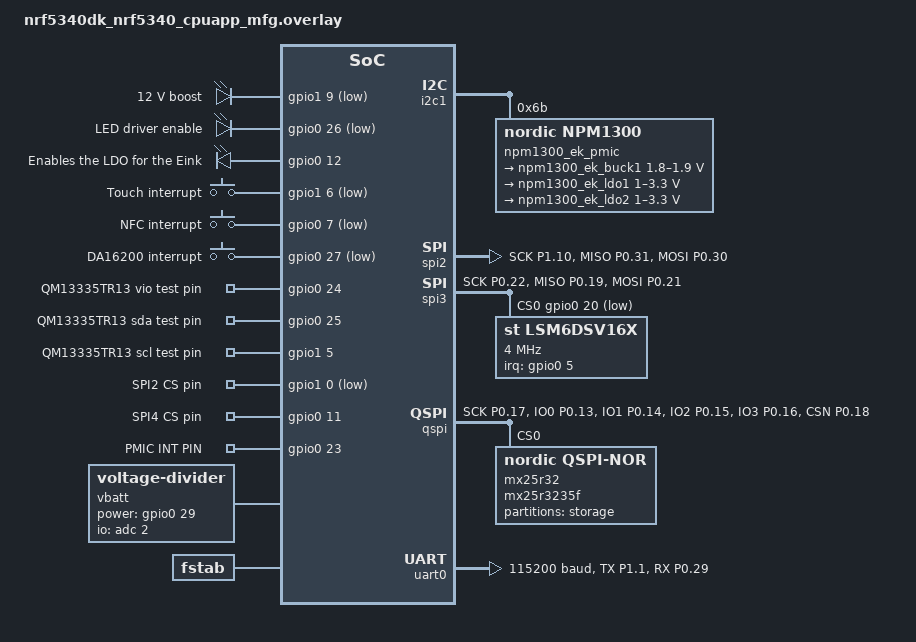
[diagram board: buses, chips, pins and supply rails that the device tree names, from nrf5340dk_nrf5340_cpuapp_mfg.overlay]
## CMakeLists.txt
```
# Copyright (c) 2023 Nordic Semiconductor ASA
# SPDX-License-Identifier: Apache-2.0

cmake_minimum_required(VERSION 3.20.0)

set(DTC_OVERLAY_FILE ./nrf5340dk_nrf5340_cpuapp_mfg.overlay)

add_compile_options(-Werror)

get_filename_component(APPLICATION_PROJECT_DIR
    ${CMAKE_CURRENT_LIST_DIR}/..
    ABSOLUTE
)


list(APPEND BOARD_ROOT ${APPLICATION_PROJECT_DIR})
list(APPEND DTS_ROOT ${APPLICATION_PROJECT_DIR})
message(ADDING BOARD_ROOT="${BOARD_ROOT}")
message(ADDING DTS_ROOT="${DTS_ROOT}")



find_package(Zephyr REQUIRED HINTS $ENV{ZEPHYR_BASE})


project(mfg_shell VERSION 0.1.22)

zephyr_library_include_directories(src/include)
target_sources(app PRIVATE src/main.c src/board.c src/shell.c src/utils.c)
add_subdirectory(../c_modules/pmic ./build/c_modules/pmic)
add_subdirectory(src/modem)
add_subdirectory(src/wifi)
add_subdirectory(../c_modules/watchdog ./build/c_modules/watchdog)
add_subdirectory(src/ble)
add_subdirectory(../c_modules/imu ./build/c_modules/imu)
add_subdirectory(../c_modules/json ./build/c_modules/json)
add_subdirectory(../c_modules/tde ./build/c_modules/tde)
add_subdirectory(../c_modules/uicr ./build/c_modules/uicr)

add_definitions(-DAPP_VERSION_MAJOR_CMAKE=${PROJECT_VERSION_MAJOR})
add_definitions(-DAPP_VERSION_MINOR_CMAKE=${PROJECT_VERSION_MINOR})
add_definitions(-DAPP_VERSION_PATCH_CMAKE=${PROJECT_VERSION_PATCH})

# Get the current Git commit hash
execute_process(
  COMMAND git rev-parse --short=6 HEAD
  WORKING_DIRECTORY ${CMAKE_SOURCE_DIR}
  OUTPUT_VARIABLE GIT_HASH
  OUTPUT_STRIP_TRAILING_WHITESPACE
)

# Check if the repository is dirty
execute_process(
  COMMAND git status --porcelain
  WORKING_DIRECTORY ${CMAKE_SOURCE_DIR}
  OUTPUT_VARIABLE GIT_DIRTY_STATUS
  OUTPUT_STRIP_TRAILING_WHITESPACE
)

# Append '-dirty' to the version string if the repository is dirty
if(NOT GIT_DIRTY_STATUS STREQUAL "")
  set(GIT_HASH "${GIT_HASH}-dirty")
endif()

add_definitions(-DGIT_HASH_CMAKE=\"${GIT_HASH}\")

# Get the build machine name
execute_process(
  COMMAND hostname
  OUTPUT_VARIABLE BUILD_MACHINE
  OUTPUT_STRIP_TRAILING_WHITESPACE
)

# Get the build date
string(TIMESTAMP BUILD_DATE "%Y-%m-%d %H:%M:%S")

# Pass the variables to the code
add_definitions(-DBUILD_MACHINE_CMAKE=\"${BUILD_MACHINE}\")
add_definitions(-DBUILD_DATE_CMAKE=\"${BUILD_DATE}\")
```

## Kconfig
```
# Copyright (c) 2021 Nordic Semiconductor ASA
# SPDX-License-Identifier: Apache-2.0
#
# This file is the application Kconfig entry point. All application Kconfig
# options can be defined here or included via other application Kconfig files.
# You can browse these options using the west targets menuconfig (terminal) or
# guiconfig (GUI).

menu "Zephyr"
source "Kconfig.zephyr"
endmenu

module = bringup
module-str = bringup
source "subsys/logging/Kconfig.template.log_config"

config ENABLE_RFFE_TO_QM13335TR13
    bool "enable RFFE communication to QM13335TR13"
    default false
    help 
        Enable RFFE communication to QM13335TR13

config USE_UART_TO_NRF9160
    bool "use UART to nRF9160"
    default true
    help 
        Use UART to nRF9160DK

config CULVERT_LOCATION_DEMO_MODE
    bool "Send battery and SSIDS to the nrf9160"
    default false
    help
        Send battery and SSIDS to the nrf9160

config USE_UART_TO_DA16200
    bool "use UART to DA16200"
    default true
    help 
        Use UART to DA16200

module = WIFI_UART
module-str = wifi_uart
source "subsys/logging/Kconfig.template.log_config"

module = WIFI_SPI
module-str = wifi_spi
source "subsys/logging/Kconfig.template.log_config"

module = PMIC
module-str = PMIC
source "subsys/logging/Kconfig.template.log_config"

module = SPI_MODEM
module-str = spi_modem
source "subsys/logging/Kconfig.template.log_config"

config IOT_BROKER_HOST_NAME
	string "AWS IoT Broker Host Name"
	default "a3hoon64f0fuap-ats.iot.eu-west-1.amazonaws.com"
	help 
        The AWS IoT broker host name, defaults to staging

config IOT_MQTT_BRAND_ID
	int "purina assigned brand id"
	default 35

config IOT_MQTT_REGION_ID
	string "purina assigned region id"
	default "US"

config IOT_MAX_TOPIC_LENGTH
	int "Maximum topic length"
	default 48

config IOT_MAX_TOPIC_NUM
	int "Maximum number of topics"
	default 16

config AVOID_ZBUS
	int "compaibility with commercial_collar"
	default 1

config BUILDING_MFG_SHELL
    int "Building for MFG shell"
    default 1
```

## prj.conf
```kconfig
CONFIG_SENSOR=y
CONFIG_GPIO=y
CONFIG_LOG=y

CONFIG_SERIAL=y
CONFIG_UART_INTERRUPT_DRIVEN=y
CONFIG_UART_ASYNC_API=y
CONFIG_UART_NRFX=y
CONFIG_PRINTK=y
CONFIG_MAIN_STACK_SIZE=8192
CONFIG_POSIX_CLOCK=y

## SHELL
CONFIG_SHELL=y
CONFIG_LED_SHELL=y
CONFIG_FLASH_SHELL=y
CONFIG_GPIO_SHELL=y
CONFIG_SHELL_WILDCARD=n

## NPM1300
CONFIG_FLASH_SHELL=y
CONFIG_GPIO_SHELL=y


## NPM1300
CONFIG_LED=y
CONFIG_REGULATOR=y
CONFIG_REGULATOR_NPM1300=y
CONFIG_REGULATOR=y
CONFIG_REGULATOR_NPM1300=y
CONFIG_LED_NPM1300=y
CONFIG_GPIO_NPM1300=y
CONFIG_NPM1300_CHARGER=y
CONFIG_NRF_FUEL_GAUGE=y
CONFIG_MFD_NPM1300=y

## FLASH
CONFIG_FLASH=y
CONFIG_SPI=n
CONFIG_NORDIC_QSPI_NOR=y 

CONFIG_NRFX_SPIM4=y
CONFIG_MAIN_STACK_SIZE=4096

## watchdog
CONFIG_WDT_LOG_LEVEL_DBG=y
CONFIG_WATCHDOG=y
CONFIG_WDT_DISABLE_AT_BOOT=n
CONFIG_WDT_NPM1300=y
#CONFIG_WDT_NPM1300_TIMEOUT_IN_MS=60000
CONFIG_COUNTER=y

#CONFIG_USE_UART_TO_NRF9160=y
CONFIG_USE_UART_TO_DA16200=y

# If you change this, you need to change the "status" property in the
# devicetree of either spi2 or uart2 to "okay" in the board overlay file
CONFIG_USE_UART_TO_DA16200=n

# IMU
CONFIG_LSM6DSV16X=y
CONFIG_LSM6DSV16X_TRIGGER_OWN_THREAD=y
CONFIG_LSM6DSV16X_THREAD_STACK_SIZE=4096

CONFIG_CJSON_LIB=y

## Bringup and Mfg test
## might require hardware mods, do not use unless you know what you are doing
#CONFIG_ENABLE_RFFE_TO_QM13335TR13=y

CONFIG_WIFI_SPI_LOG_LEVEL_DBG=y
CONFIG_WIFI_UART_LOG_LEVEL_DBG=y

# BLE
CONFIG_BT=y
CONFIG_BT_PERIPHERAL=y
CONFIG_BT_BAS=y
CONFIG_BT_DEVICE_NAME_DYNAMIC=y
CONFIG_BT_RX_STACK_SIZE=4096

# MCUBoot
CONFIG_BOOTLOADER_MCUBOOT=y
CONFIG_MCUBOOT_GENERATE_UNSIGNED_IMAGE=y
CONFIG_MCUBOOT_GENERATE_CONFIRMED_IMAGE=y

# NOTE: we want to save as much as possible of the 4MB external flash for storing data.
# If we want to sacrafice some external flash memory for code-space, change this to 'y',
# and add support in MCUboot for secondary image in external flash, see:
# https://github.com/CuvertEngineering/purina-d1/pull/7/files
CONFIG_PM_EXTERNAL_FLASH_MCUBOOT_SECONDARY=n

# DFU - this enables all required SMP handlers and SMP BT reassembly feature
CONFIG_NCS_SAMPLE_MCUMGR_BT_OTA_DFU=y

# Network core upgrades
CONFIG_NRF53_UPGRADE_NETWORK_CORE=y
CONFIG_DFU_MULTI_IMAGE_PACKAGE_BUILD=y
CONFIG_DFU_MULTI_IMAGE_PACKAGE_NET=y

#CONFIG_CULVERT_LOCATION_DEMO_MODE=y
CONFIG_SHELL_BACKEND_SERIAL_RX_RING_BUFFER_SIZE=1280
CONFIG_SHELL_BACKEND_SERIAL_TX_RING_BUFFER_SIZE=1280

CONFIG_BUILDING_MFG_SHELL=1
```

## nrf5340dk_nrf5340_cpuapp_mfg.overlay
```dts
/*
 * Copyright (c) 2023 Culvert, Inc
 *
 * SPDX-License-Identifier: LicenseRef-BSD-5-Clause-Nordic
 */

 / {

    leds {
        compatible = "gpio-leds";
        uwbreset: uwb_reset_1 {
               gpios = <&gpio1 9 GPIO_ACTIVE_LOW>;
               label = "12 V boost";
        };
        ledenable: led_enable_1 {
               gpios = <&gpio0 26 GPIO_ACTIVE_LOW>;
               label = "LED driver enable";
        };
        p3v3einken: p3v3_eink_en1 {
               gpios = <&gpio0 12 GPIO_ACTIVE_HIGH>;
               label = "Enables the LDO for the Eink";
        };
    };

    buttons {
        compatible = "gpio-keys";
        touchinterrupt: touch_interrupt1 {
            gpios = <&gpio1 6 (GPIO_PULL_UP |GPIO_ACTIVE_LOW)>;
            label = "Touch interrupt";
        };

        nfcinterrupt: nfc_interrupt1 {
               gpios = <&gpio0 7 (GPIO_PULL_UP | GPIO_ACTIVE_LOW)>;
               label = "NFC interrupt";
        };

        dainterrupt: dialog_interrupt {
               gpios = <&gpio0 27 (GPIO_PULL_UP | GPIO_ACTIVE_LOW)>;
               label = "DA16200 interrupt";
        };      

        antennavio:  antenna_vio {
            gpios = <&gpio0 24 (GPIO_ACTIVE_HIGH)>;
            label = "QM13335TR13 vio test pin";
        };

        antennasda:  antenna_sda {
            gpios = <&gpio0 25 (GPIO_ACTIVE_HIGH)>;
            label = "QM13335TR13 sda test pin";
        };

        antennascl:  antenna_scl {
            gpios = <&gpio1 5 (GPIO_ACTIVE_HIGH)>;
            label = "QM13335TR13 scl test pin";
        };

	spi2cs:  spi2_cs {
		gpios = <&gpio1 0 (GPIO_ACTIVE_LOW)>;
		label = "SPI2 CS pin";
	};

        spi4cs:  spi4_cs {
            gpios = <&gpio0 11 (GPIO_ACTIVE_HIGH)>;
            label = "SPI4 CS pin";
        };

        pmicInt:  pmic_int {
            gpios = <&gpio0 23 (GPIO_ACTIVE_HIGH)>;
            label = "PMIC INT PIN";
        };
    };

    vbatt {
          compatible = "voltage-divider";
          io-channels = <&adc 2>;
          output-ohms = <49900>;
          full-ohms = <(100000 + 49900)>;
          power-gpios = <&gpio0 29 GPIO_ACTIVE_HIGH>;
    };

    aliases {
        i2c1 = &i2c1;
        ledenable = &ledenable;
        touchinterrupt = &touchinterrupt;
        nfcinterrupt = &nfcinterrupt;
        p3v3einken = &p3v3einken;
        uwbreset = &uwbreset;
        dainterrupt = &dainterrupt;
        spi-flash0 = &mx25r32;
        modemuart = &uart1;
	spi2cs = &spi2cs;
        spi4cs = &spi4cs;
        pmicint = &pmicInt;
    };
};

&pinctrl {

    uart0_default: uart0_default {
                group1 {
                    psels = <NRF_PSEL(UART_TX, 1, 1)>;
                };
                group2 {
                        psels = <NRF_PSEL(UART_RX, 0, 29)>;
                        bias-pull-up;
                };
                /delete-property/ hw-flow-control;
        };

    uart0_sleep: uart0_sleep {
            group1 {
                    psels = <NRF_PSEL(UART_TX, 1, 1)>,
                            <NRF_PSEL(UART_RX, 0, 29)>;
                    low-power-enable;
                    /delete-property/ hw-flow-control;
            };
    };

    uart_over_spi_to_9160_default: uart_over_spi_to_9160_default {
            group1 {
                    psels = <NRF_PSEL(UART_TX, 0, 9)>;
            };
            group2 {
                    psels = <NRF_PSEL(UART_RX, 0, 8)>;
                    bias-pull-up;
            };
            /delete-property/ hw-flow-control;
    };

    uart_over_spi_to_9160_sleep: uart_over_spi_to_9160_sleep {
            group1 {
                    psels = <NRF_PSEL(UART_TX, 0, 9)>,
                            <NRF_PSEL(UART_RX, 0, 8)>;
                    low-power-enable;
                    /delete-property/ hw-flow-control;
            };
    };

    uart_over_spi_to_wifi_default: uart_over_spi_to_wifi_default {
        group1 {
                psels = <NRF_PSEL(UART_TX, 0, 30)>;
        };
        group2 {
                psels = <NRF_PSEL(UART_RX, 0, 31)>;
                bias-pull-up;
        };
        /delete-property/ hw-flow-control;
    };

    uart_over_spi_to_wifi_sleep: uart_over_spi_to_wifi_sleep {
            group1 {
                    psels = <NRF_PSEL(UART_TX, 0, 30)>,
                            <NRF_PSEL(UART_RX, 0, 31)>;
                    low-power-enable;
                    /delete-property/ hw-flow-control;
            };
    };      

    i2c1_default: i2c1_default {
        group1 {
            psels = <NRF_PSEL(TWIM_SDA, 1, 3)>,
                <NRF_PSEL(TWIM_SCL, 1, 2)>;
        };
    };

    i2c1_sleep: i2c1_sleep {
        group1 {
            psels = <NRF_PSEL(TWIM_SDA, 1, 3)>,
                <NRF_PSEL(TWIM_SCL, 1, 2)>;
            low-power-enable;
        };
    };

    spi2_default: spi2_default {
	group1 {
	    psels = <NRF_PSEL(SPIM_SCK, 1, 10)>,
		<NRF_PSEL(SPIM_MISO, 0, 31)>,
		<NRF_PSEL(SPIM_MOSI, 0, 30)>;
	};
    };

    spi2_sleep: spi2_sleep {
	group1 {
	    psels = <NRF_PSEL(SPIM_SCK, 1, 10)>,
		<NRF_PSEL(SPIM_MISO, 0, 31)>,
		<NRF_PSEL(SPIM_MOSI, 0, 30)>;
	    low-power-enable;
	};
    };

    spi_imu_default: spi_imu_default {
        group1 {
            psels = <NRF_PSEL(SPIM_SCK, 0, 22)>,
                <NRF_PSEL(SPIM_MISO, 0, 19)>,
                <NRF_PSEL(SPIM_MOSI, 0, 21)>;
        };
    };

    spi_imu_sleep: spi_imu_sleep {
        group1 {
            psels = <NRF_PSEL(SPIM_SCK, 0, 22)>,
                <NRF_PSEL(SPIM_MISO, 0, 19)>,
                <NRF_PSEL(SPIM_MOSI, 0, 21)>;
            low-power-enable;
        };
    };

    spi4_default: spi4_default {
        group1 {
                psels = <NRF_PSEL(SPIM_SCK, 0, 8)>,
                        <NRF_PSEL(SPIM_MISO, 0, 10)>,
                        <NRF_PSEL(SPIM_MOSI, 0, 9)>,
                        <NRF_PSEL(SPIS_CSN, 0, 11)>;
        };
    };

    spi4_sleep: spi4_sleep {
        group1 {
                psels = <NRF_PSEL(SPIM_SCK, 0, 8)>,
                        <NRF_PSEL(SPIM_MISO, 0, 10)>,
                        <NRF_PSEL(SPIM_MOSI, 0, 9)>,
                        <NRF_PSEL(SPIS_CSN, 0, 11)>;
                low-power-enable;
        };
    };

    qspi_default: qspi_default {
        group1 {
            psels = <NRF_PSEL(QSPI_SCK, 0, 17)>,
                <NRF_PSEL(QSPI_IO0, 0, 13)>,
                <NRF_PSEL(QSPI_IO1, 0, 14)>,
                <NRF_PSEL(QSPI_IO2, 0, 15)>,
                <NRF_PSEL(QSPI_IO3, 0, 16)>,
                <NRF_PSEL(QSPI_CSN, 0, 18)>;
            nordic,drive-mode = <NRF_DRIVE_H0H1>;
        };
    };

    qspi_sleep: qspi_sleep {
        group1 {
            psels = <NRF_PSEL(QSPI_SCK, 0, 17)>,
                <NRF_PSEL(QSPI_IO0, 0, 13)>,
                <NRF_PSEL(QSPI_IO1, 0, 14)>,
                <NRF_PSEL(QSPI_IO2, 0, 15)>,
                <NRF_PSEL(QSPI_IO3, 0, 16)>;
            low-power-enable;
        };
        group2 {
            psels = <NRF_PSEL(QSPI_CSN, 0, 18)>;
            low-power-enable;
            bias-pull-up;
        };
    };
};

&i2c1 {
    npm1300_ek_pmic: pmic@6b {
        compatible = "nordic,npm1300";
        reg = <0x6b>;

        npm1300_ek_gpio: gpio-controller {
            compatible = "nordic,npm1300-gpio";
            gpio-controller;
            #gpio-cells = <2>;
            ngpios = <5>;
        };

        npm1300_ek_regulators: regulators {
            compatible = "nordic,npm1300-regulator";

            /* limits are set to min/max allowed values */
            npm1300_ek_buck1: BUCK1 {
                regulator-min-microvolt = <1800000>;
                regulator-max-microvolt = <1900000>;
                regulator-init-microvolt = <1900000>;
                /* set to 1.9V for boot, will be set to 1.8V by software.  Workaround for NPM1300 Errata #27 */
            };
/*
            npm1300_ek_buck2: BUCK2 {
                regulator-min-microvolt = <1000000>;
                regulator-max-microvolt = <3300000>;
                regulator-init-microvolt = <1800000>;
                retention-microvolt = <2500000>;
                enable-gpios = <&npm1300_ek_gpio 1 GPIO_ACTIVE_LOW>;
                retention-gpios = <&npm1300_ek_gpio 2 GPIO_ACTIVE_HIGH>;
                pwm-gpios = <&npm1300_ek_gpio 2 GPIO_ACTIVE_LOW>;
            };
*/
            npm1300_ek_ldo1: LDO1 {
                regulator-min-microvolt = <1000000>;
                regulator-max-microvolt = <3300000>;
                enable-gpios = <&npm1300_ek_gpio 2 GPIO_ACTIVE_LOW>;
            };

            npm1300_ek_ldo2: LDO2 {
                regulator-min-microvolt = <1000000>;
                regulator-max-microvolt = <3300000>;
                enable-gpios = <&npm1300_ek_gpio 2 GPIO_ACTIVE_LOW>;
            };
        };

        npm1300_ek_charger: charger {
            compatible = "nordic,npm1300-charger";
            term-microvolt = <4450000>;
            term-warm-microvolt = <4450000>;
            current-microamp = <520000>;
            dischg-limit-microamp = <1000000>;  // 270000 min
            vbus-limit-microamp = <700000>;
            thermistor-ohms = <10000>;
            thermistor-beta = <3435>;
            charging-enable;
        };

        npm1300_ek_leds: pmicleds {
            compatible = "nordic,npm1300-led";
            nordic,led0-mode = "host";
            nordic,led1-mode = "host";
            nordic,led2-mode = "host";
        };

        npm1300_wdt: watchdog {
            compatible = "nordic,npm1300-wdt";
            /* nordic_npm1300wdt */
        };
    };
};

&uicr {
    nfct-pins-as-gpios;
};

// One of these is needed communicating to the DA16200. 
// set status to okay to enable one based on CONFIG_USE_UART_TO_DA16200
// in the prj.conf
&spi2 {
	compatible = "nordic,nrf-spim";
    status = "okay";
	pinctrl-0 = <&spi2_default>;
	pinctrl-1 = <&spi2_sleep>;
	pinctrl-names = "default", "sleep";
	cs-gpios = <&gpio1 0 GPIO_ACTIVE_LOW>;
};
&uart2 {
    current-speed = <115200>;
    status = "disabled";
    pinctrl-0 = <&uart_over_spi_to_wifi_default>;
    pinctrl-1 = <&uart_over_spi_to_wifi_sleep>;
    pinctrl-names = "default", "sleep";
};



&spi3 {
    compatible = "nordic,nrf-spim";
    status = "okay";
    pinctrl-0 = <&spi_imu_default>;
    pinctrl-1 = <&spi_imu_sleep>;
    pinctrl-names = "default", "sleep";

    label = "SPI_4";
    cs-gpios = <&gpio0 20 GPIO_ACTIVE_LOW>;

    lsm6dsv16x@0 {
        compatible = "st,lsm6dsv16x";
                status = "okay";
                reg = <0>;
                spi-max-frequency = <4000000>;
                irq-gpios = <&gpio0 5 GPIO_ACTIVE_HIGH>;
                drdy-pin = <1>;
                drdy-pulsed;
                label = "LSM6DSV16X";
        };
};

/delete-node/ &mx25r64;

&qspi {
    status = "okay";
    pinctrl-0 = <&qspi_default>;
    pinctrl-1 = <&qspi_sleep>;
    pinctrl-names = "default", "sleep";
    mx25r32: mx25r3235f@0 {
        compatible = "nordic,qspi-nor";
        reg = <0>;
        /* MX25R64 supports only pp and pp4io */
        writeoc = "pp4io";
        /* MX25R64 supports all readoc options */
        readoc = "read4io";
        sck-frequency = <8000000>;
        jedec-id = [c2 28 16];
        sfdp-bfp = [
            e5 20 f1 ff  ff ff ff 03  44 eb 08 6b  08 3b 04 bb
            ee ff ff ff  ff ff 00 ff  ff ff 00 ff  0c 20 0f 52
            10 d8 00 ff  23 72 f5 00  82 ed 04 cc  44 83 68 44
            30 b0 30 b0  f7 c4 d5 5c  00 be 29 ff  f0 d0 ff ff
        ];
        size = <33554432>;
        has-dpd;
        t-enter-dpd = <10000>;
        t-exit-dpd = <35000>;
    };
};

/delete-node/ &storage_partition;

/ {
        fstab {
                compatible = "zephyr,fstab";
                lfs1: lfs1 {
                        compatible = "zephyr,fstab,littlefs";
                        mount-point = "/lfs1";
                        partition = <&lfs1_part>;
                        automount;
                        read-size = <16>;
                        prog-size = <16>;
                        cache-size = <64>;
                        lookahead-size = <32>;
                        block-cycles = <512>;
                };
        };
};

&mx25r32 {
        partitions {
                compatible = "fixed-partitions";
                #address-cells = <1>;
                #size-cells = <1>;

                lfs1_part: partition@0 {
                        label = "storage";
                        reg = <0x00000000 0x100000>;
                };
        };
};


&uart0 {
    status = "okay";
    current-speed = <115200>;
    pinctrl-0 = <&uart0_default>;
    pinctrl-1 = <&uart0_sleep>;
    pinctrl-names = "default", "sleep";
};



&i2c2 {
    status = "disabled";
};





/ {
    gpio_fwd: nrf-gpio-forwarder {
        compatible = "nordic,nrf-gpio-forwarder";
        status = "disabled";
        uart {
            gpios = <&gpio1 1 0>, <&gpio1 0 0>, <&gpio0 11 0>, <&gpio0 10 0>;
        };
    };
};
```

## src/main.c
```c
/**
	@file main.c
	@brief Project main startup code.
	Copyright (c) 2023 Culvert Engineering - All Rights Reserved
 */

#include <stdlib.h>
#include <zephyr/dfu/mcuboot.h>
#include <zephyr/sys/printk.h>
#include <getopt.h>

#include "modem.h"
#include "wifi.h"
#include "watchdog.h"
#include "uicr.h"
#include <zephyr/logging/log.h>

#include "imu.h"
#include "ble.h"
#include "pmic.h"
#if (CONFIG_ENABLE_RFFE_TO_QM13335TR13)
#include "rffe.h"
#endif
#include "app_version.h"
LOG_MODULE_REGISTER(main, LOG_LEVEL_DBG);

#define SLEEP_TIME_MS 100

////////////////////////////////////////////////////////////////////////////////////
//
// Main
//
bool initDevices()
{

	if (pmic_init(true,true)) {
		printk("Error: PMIC initialization failed.\n");
		return false;
	}
	set_switch_state(PMIC_SWITCH_VSYS, true);
	set_switch_state(PMIC_SWITCH_WIFI, true);

#if (CONFIG_WATCHDOG)
	if (watchdog_init()) {
		printk("Error: watchdog initialization failed.\n");
		return false;
	}
#endif

#if (CONFIG_ENABLE_RFFE_TO_QM13335TR13)
	if (RFFE_init()) {
		printk("Error: RFFE initialization failed.\n");
		return false;
	}
#endif

	if (modem_init()) {
		printk("Error: 9160 Modem initialization failed.\n");
		return false;
	}

	if (wifi_init()) {
		printk("Error: Wifi initialization failed.\n");
		return false;
	}
	if (ble_init()) {
		printk("Error: BLE initialization failed.\n");
		return false;
	}

	if (imu_init()) {
		printk("Error: IMU initialization failed.\n");
		return false;
	}

	return true;
}
int enable_nrf9160()
{
	printf("IN DEMO mode, so Sending modem start command\n");
	uint8_t cmd = COMMAND_START;
	char resp_buf[200];
	uint16_t resp_len = 0;

	int my_handle = modem_send_command(MESSAGE_TYPE_COMMAND, &cmd, 1, true);
	memset(resp_buf, 0, sizeof(resp_buf));
	if (modem_recv_resp(my_handle, resp_buf, &resp_len, 1000) ==
	    0) { // 1 sec timeout, thats a looooong time
		// Modem returned valid response
		if (strstr(resp_buf, "OK\r\n")) {
			printf("[%s]..OK...\n", "COMMAND_START");
		}
		// printf("<<<<{%s}\n",resp_buf);
	} else {
		// Modem response timed out
		printf("Modem response timed out\n");
	}
	return 0;
}

#if CONFIG_CULVERT_LOCATION_DEMO_MODE

// ASSET_TRACKER_V2 Batt Level Stuff
void do_asset_tracker_update_fuel_gauge(struct k_work *work)
{
	fuel_gauge_info_t info;
	fuel_gauge_get_latest(&info);
	// EAS Clutter LOG_DBG("Sending updated battery percentage: %f", info.soc);
	modem_send_command(MESSAGE_TYPE_BATTERY_LEVEL, (uint8_t *)(&(info.soc)), sizeof(info.soc),
			   false);
}
K_WORK_DEFINE(my_fuel_gauge_work, do_asset_tracker_update_fuel_gauge);
void my_fuel_gauge_timer_handler(struct k_timer *dummy)
{
	k_work_submit(&my_fuel_gauge_work);
}
K_TIMER_DEFINE(my_fuel_gauge_timer, my_fuel_gauge_timer_handler, NULL);

char packet_to_tx[2000];
char packet_to_rx[2000];
int packet_to_tx_index = 0;
static void parse_ssids(const char *buf)
{
#define TAB 9
#define EOL 10
	// EAS  clutter reduce printf("%s\n",buf);
	enum states {
		MAC,
		CHANNEL,
		RSSI,
		CREDS,
		SSID
	};
	enum states sm_state = MAC;

	char *match = strstr(&buf[2], "+WFSCAN");
	if (match == NULL) {
		printf("this is NOT a wifi packet, abort\n");
		return;
	} else {
		if (match == &buf[2]) {
			// EAS clutter printf("this is a TRULY  wifi packet\n");
		} else {
			// EAS clutter printf("this is STILL NOT a wifi packet\n");
			return;
		}
	}
	memset(packet_to_tx, 0, 2000);
	packet_to_tx_index = 0;
	for (int i = 10; i < strlen(buf); i++) {
		switch (buf[i]) {
		case TAB:
			// EAS  clutter reduce printf(" +  ");
			switch (sm_state) {
			case MAC:
				packet_to_tx[packet_to_tx_index++] = ',';
				sm_state = CHANNEL;
				break;
			case CHANNEL:
				sm_state = RSSI;
				break;
			case RSSI:
				sm_state = CREDS;
				break;
			case CREDS:
				sm_state = SSID;
				break;
			default:
				break;
			}
			break;
		case EOL:
			// EAS clutter reduce  printf("+");
			packet_to_tx[packet_to_tx_index++] = '\n';
			sm_state = MAC;
			break;
		default:
			if (sm_state == RSSI || sm_state == MAC) {
				// EAS  clutter reduce printf("%c",buf[i]);
				packet_to_tx[packet_to_tx_index++] = buf[i];
			}
		}
	}
	packet_to_tx[packet_to_tx_index] = 0;
	// EAS  clutter reduce printf("\n\n>>> %s\n\n",packet_to_tx);
	int my_handle =
		modem_send_command(MESSAGE_TYPE_SSIDS, packet_to_tx, packet_to_tx_index, false);
	(void)my_handle;
#if 0
    uint16_t len = 2048;
    packet_to_rx[0] = 0xFF;
    if(modem_recv_resp(my_handle, packet_to_rx, &len, 5000) == 0) {
        if( packet_to_rx[0] == 0 ) {
            printf("Modem responded OK to SSIDs\n");
        }
    }else{
        printf("No response in 5 seconds\n");
    }
    modem_free_reply_data(my_handle);
#endif
}
#define SSID_SCAN_INTERVAL (55)
char ssid_buffer[1500];

void do_asset_tracker_update_ssids(struct k_work *work)
{
	memset(ssid_buffer, 0, sizeof(ssid_buffer)); // start it off cleared
	// EAS  clutter reduce int ret = get_wfscan(ssid_buffer, 1500);
	get_wfscan(ssid_buffer, 1500);
	// EAS  clutter reduce printf("%d:%s",ret,ssid_buffer);
	parse_ssids(ssid_buffer);
}
K_WORK_DEFINE(my_ssids_work, do_asset_tracker_update_ssids);
void my_ssids_timer_handler(struct k_timer *dummy)
{
	k_work_submit(&my_ssids_work);
}
K_TIMER_DEFINE(my_ssids_timer, my_ssids_timer_handler, NULL);
#endif
////////////////////////////////////////////////////////////////////////////////////
//
// Main
//
int main(void)
{
	if (!initDevices()) {
		printk("Error: Device initialization failed.\n");
		return -1;
	}

	/*
	   mark the currently running firmware image as OK,
	   which will install it permanently after an OTA
	 */
	boot_write_img_confirmed();

#if CONFIG_CULVERT_LOCATION_DEMO_MODE
	printf("NRFCLOUD DEMO App version %d.%d.%d (%s)\r\n", APP_VERSION_MAJOR, APP_VERSION_MINOR,
	       APP_VERSION_PATCH, GIT_HASH);

	printf("Built on %s by %s\r\n", DBUILD_DATE, DBUILD_MACHINE);
#else
	printf("App version %d.%d.%d (%s)\r\n", APP_VERSION_MAJOR, APP_VERSION_MINOR,
	       APP_VERSION_PATCH, GIT_HASH);

	printf("Built on %s by %s\r\n", DBUILD_DATE, DBUILD_MACHINE);
#endif

#if CONFIG_CULVERT_LOCATION_DEMO_MODE
#pragma message("BUILDING A CULVERT LOCATION DEMO VERSION OF THE SHELL!!!!!")
	LOG_WRN("!!!!!!!!!!!!!!!!!!!!!!!!!!!!!!!!!!!!!!!!!!!!!!!!!!!!!!!!!");
	LOG_WRN("THIS IS A CULVERT LOCATION DEMO VERSION OF THE SHELL!!!!!");
	LOG_WRN("!!!!!!!!!!!!!!!!!!!!!!!!!!!!!!!!!!!!!!!!!!!!!!!!!!!!!!!!!");
	k_timer_start(&my_fuel_gauge_timer, K_SECONDS(30), K_SECONDS(60));
	k_timer_start(&my_ssids_timer, K_SECONDS(60), K_SECONDS(60));
	enable_nrf9160();
#endif
	while (1) {
		k_msleep(SLEEP_TIME_MS);
	}
}
#if CONFIG_CULVERT_LOCATION_DEMO_MODE
#include <zephyr/shell/shell.h>
SHELL_CMD_REGISTER(parse_ssids, NULL, "parse ssids", do_asset_tracker_update_ssids);
#endif
```

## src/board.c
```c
/*
 * Copyright (c) 2022 Kenzen Inc.
 *
 * SPDX-License-Identifier: Unlicensed
 */

#include <zephyr/kernel.h>
#include <zephyr/init.h>

static int board_d1_init(void)
{
	return 0;
}

SYS_INIT(board_d1_init, PRE_KERNEL_1, CONFIG_KERNEL_INIT_PRIORITY_DEFAULT);
```

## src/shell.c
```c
#include <zephyr/logging/log_ctrl.h>
#include <zephyr/logging/log.h>
#include <zephyr/shell/shell.h>
#include <stdlib.h>
#include <stdio.h>
#include <zephyr/sys/reboot.h> // for shell reboot command
#include "app_version.h"
LOG_MODULE_REGISTER(shell, LOG_LEVEL_DBG);

static int version(const struct shell *sh, size_t argc, char **argv)
{
#if CONFIG_CULVERT_LOCATION_DEMO_MODE
	shell_fprintf(sh, SHELL_NORMAL, "NRFCLOUD DEMO App version %d.%d.%d (%s)\r\n",
		      APP_VERSION_MAJOR, APP_VERSION_MINOR, APP_VERSION_PATCH, GIT_HASH);

	shell_fprintf(sh, SHELL_NORMAL, "Built on %s by %s\r\n", DBUILD_DATE, DBUILD_MACHINE);
#else
	shell_fprintf(sh, SHELL_NORMAL, "App version %d.%d.%d (%s)\r\n", APP_VERSION_MAJOR,
		      APP_VERSION_MINOR, APP_VERSION_PATCH, GIT_HASH);

	shell_fprintf(sh, SHELL_NORMAL, "Built on %s by %s\r\n", DBUILD_DATE, DBUILD_MACHINE);
#endif
	return 0;
}

static int system_reboot(const struct shell *sh, size_t argc, char **argv)
{
	shell_print(sh, "rebooting...\n");
	sys_reboot(SYS_REBOOT_COLD);
}

SHELL_CMD_REGISTER(version, NULL, "app version", version);
SHELL_CMD_REGISTER(reboot, NULL, "reboot system", system_reboot);
```

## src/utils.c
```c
#include <stdint.h>
#include <stdbool.h>
#include <zephyr/logging/log.h>
#include <zephyr/posix/time.h>
#include <zephyr/sys/byteorder.h>

LOG_MODULE_REGISTER(utils, LOG_LEVEL_DBG);

// current time with millisecond resolution
uint64_t utils_get_currentmillis(void)
{
	struct timespec ts;
	clock_gettime(CLOCK_REALTIME, &ts);

	uint64_t t = (ts.tv_sec) * 1000 + ts.tv_nsec / 1000000;
	return sys_cpu_to_be64(t);
}
```
